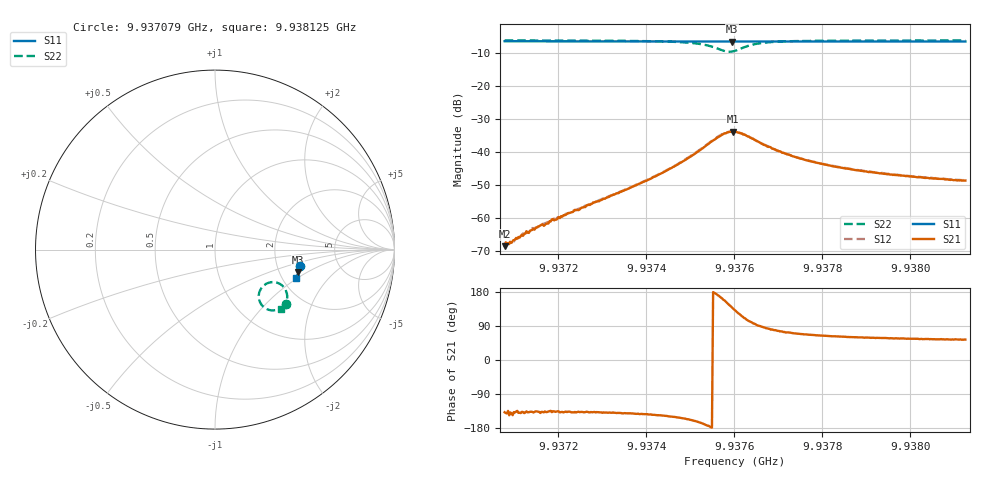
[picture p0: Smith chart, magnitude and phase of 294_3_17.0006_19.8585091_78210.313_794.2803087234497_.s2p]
#  HZ  S  RI  R  50.00
! Rohde & Schwarz Vector Network Analyzer
! Rohde-Schwarz,ZNB20-2Port,1311601062101988,3.16
! Created: UTC 3/20/2024, 11:05:14 PM
! freq[Hz]  re:S11  im:S11  re:S21  im:S21  re:S12  im:S12  re:S22  im:S22
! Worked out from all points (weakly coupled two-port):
!   401 points, 9.937079 GHz to 9.938125 GHz, reference 50 ohm
!   highest |S21| = -33.81 dB at 9.937597 GHz (marker M1); lowest = -68.6 dB at 9.937079 GHz (marker M2)
!   lowest |S11| = -6.4 dB at 9.937594 GHz (marker M3), VSWR 2.84, Z = 127 - j41.4 ohm
!   |S11| at or under -10 dB: nowhere
!   |S22| runs from -9.5 to -6.1 dB; largest |S21 - S12| = 0.00086
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9.9370786e9  0.4754 -0.0929  -0.000274 -0.000248  -0.000317 -0.000243  0.3945 -0.3042
9.9371048e9  0.4749 -0.0946  -0.000355 -0.000342  -0.000375 -0.000295  0.3924 -0.3061
9.9371204e9  0.4745 -0.0957  -0.000391 -0.00036  -0.000437 -0.000383  0.3915 -0.3074
9.9371597e9  0.4739 -0.0984  -0.000582 -0.000492  -0.000565 -0.000516  0.3882 -0.3103
9.9371728e9  0.4736 -0.0992  -0.000598 -0.000548  -0.000614 -0.000563  0.3873 -0.3114
9.9371859e9  0.4735 -0.1001  -0.000696 -0.000636  -0.000676 -0.000625  0.3861 -0.3125
9.9372539e9  0.4722 -0.1048  -0.00105 -0.000978  -0.00108 -0.000943  0.3798 -0.3181
9.9373664e9  0.4698 -0.1123  -0.00225 -0.00182  -0.0023 -0.00183  0.3633 -0.3288
9.9374292e9  0.4684 -0.1166  -0.00375 -0.00258  -0.00387 -0.00254  0.3473 -0.3355
9.9374867e9  0.4669 -0.1204  -0.00668 -0.00321  -0.0069 -0.00313  0.32 -0.3392
9.9375338e9  0.4653 -0.1235  -0.012 -0.00203  -0.0123 -0.0019  0.277 -0.3246
9.9375705e9  0.4637 -0.1254  -0.0173 0.00481  -0.0176 0.00538  0.2438 -0.2617
9.937594e9  0.4631 -0.1258  -0.0154 0.0131  -0.0153 0.0138  0.2711 -0.2003
9.9375966e9  0.4632 -0.1261  -0.0148 0.014  -0.0147 0.0146  0.2777 -0.1953
9.9376019e9  0.4632 -0.126  -0.0133 0.0151  -0.0131 0.0159  0.2915 -0.1875
9.9376228e9  0.4634 -0.127  -0.00651 0.0172  -0.00603 0.0175  0.3465 -0.1846
9.9376568e9  0.4635 -0.1294  -1.58e-05 0.0141  0.000333 0.0141  0.3915 -0.2207
9.9377118e9  0.4626 -0.1335  0.00271 0.00935  0.00273 0.00928  0.4022 -0.2648
9.9377772e9  0.4612 -0.1381  0.00288 0.0065  0.00304 0.00654  0.3969 -0.2902
9.9378452e9  0.4596 -0.1427  0.00274 0.00506  0.00283 0.00505  0.3906 -0.3048
9.9379525e9  0.457 -0.1498  0.00247 0.00384  0.00256 0.00384  0.3812 -0.3189
9.9381251e9  0.4525 -0.1609  0.00217 0.00298  0.00226 0.00297  0.3687 -0.3337
